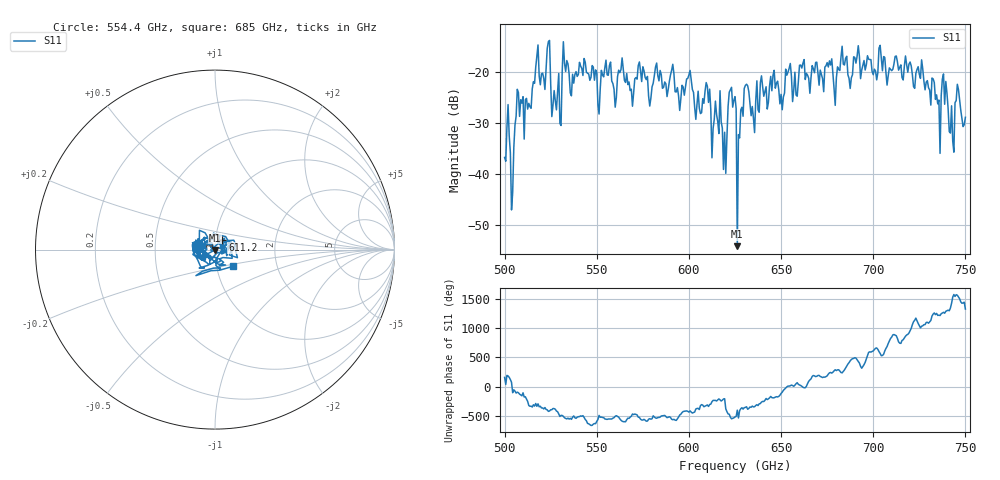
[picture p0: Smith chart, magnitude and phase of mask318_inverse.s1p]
!Created with skrf (http://scikit-rf.org).
# GHz S MA R 50.0
!freq magS11 angS11
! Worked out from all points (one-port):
!   401 points, 500 GHz to 750 GHz, reference 50 ohm
!   lowest |S11| = -54.1 dB at 626.2 GHz (marker M1), VSWR 1.00, Z = 50.1 - j0.135 ohm
!   |S11| at or under -10 dB: start of sweep to end of sweep
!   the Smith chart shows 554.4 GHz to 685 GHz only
!   S11 on the Smith chart (normalised r, x): 554.4 GHz: 0.80, +0.04; 611.2 GHz: 1.08, +0.12; 685 GHz: 1.20, -0.23
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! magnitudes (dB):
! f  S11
! 500 GHz  -36.7
! 504.4 GHz  -43.6
! 507.5 GHz  -24.0
! 513.8 GHz  -26.8
! 516.9 GHz  -19.1
! 523.8 GHz  -14.0
! 526.9 GHz  -23.6
! 531.2 GHz  -19.9
! 554.4 GHz  -19.1
! 562.5 GHz  -20.1
! 593.8 GHz  -23.0
! 600 GHz  -20.5
! 611.2 GHz  -23.3
! 619.4 GHz  -31.8
! 623.8 GHz  -26.8
! 625 GHz  -24.8
! 626.2 GHz  -54.1
! 631.2 GHz  -22.4
! 634.4 GHz  -26.7
! 656.2 GHz  -25.8
! 685 GHz  -17.3
! 687.5 GHz  -23.2
! 718.8 GHz  -20.0
! 735 GHz  -26.2
! 738.8 GHz  -26.3
! 742.5 GHz  -26.6
! 745.6 GHz  -22.4
! 750 GHz  -28.8
